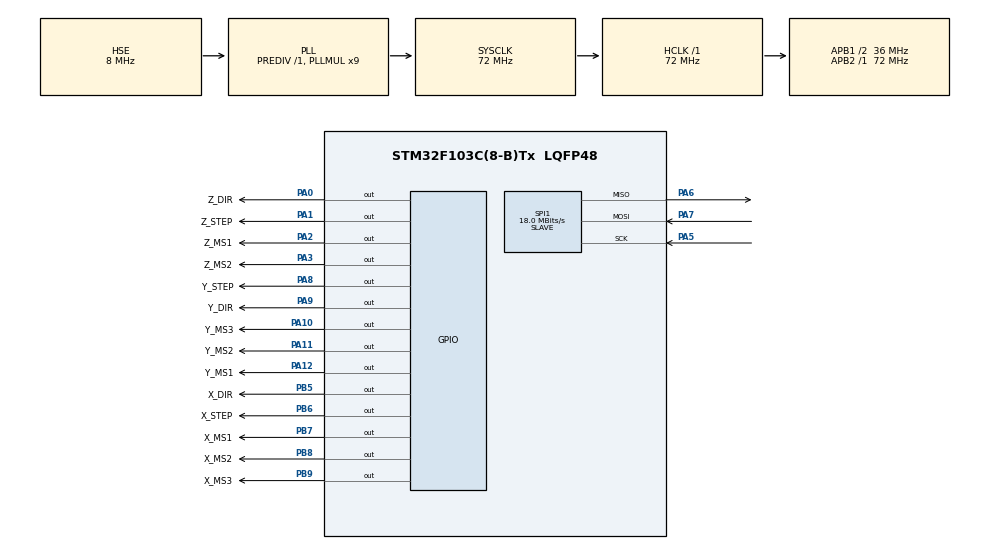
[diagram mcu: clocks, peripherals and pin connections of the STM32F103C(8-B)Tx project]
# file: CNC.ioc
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Mcu.Family=STM32F1
Mcu.Name=STM32F103C(8-B)Tx
Mcu.Package=LQFP48
NVIC.PriorityGroup=NVIC_PRIORITYGROUP_4
NVIC.SPI1_IRQn=true\:0\:0\:false\:false\:true\:true
PA0-WKUP.GPIO_Label=Z_DIR
PA0-WKUP.Signal=GPIO_Output
PA1.GPIO_Label=Z_STEP
PA1.Signal=GPIO_Output
PA10.GPIO_Label=Y_MS3
PA10.Signal=GPIO_Output
PA11.GPIO_Label=Y_MS2
PA11.Signal=GPIO_Output
PA12.GPIO_Label=Y_MS1
PA12.Signal=GPIO_Output
PA13.Mode=JTAG_4_pins
PA13.Signal=SYS_JTMS-SWDIO
PA14.Mode=JTAG_4_pins
PA14.Signal=SYS_JTCK-SWCLK
PA15.Mode=JTAG_4_pins
PA15.Signal=SYS_JTDI
PA2.GPIO_Label=Z_MS1
PA2.Signal=GPIO_Output
PA3.GPIO_Label=Z_MS2
PA3.Signal=GPIO_Output
PA5.Mode=Full_Duplex_Slave
PA5.Signal=SPI1_SCK
PA6.Mode=Full_Duplex_Slave
PA6.Signal=SPI1_MISO
PA7.Mode=Full_Duplex_Slave
PA7.Signal=SPI1_MOSI
PA8.GPIO_Label=Y_STEP
PA8.Signal=GPIO_Output
PA9.GPIO_Label=Y_DIR
PA9.Signal=GPIO_Output
PB3.Mode=JTAG_4_pins
PB3.Signal=SYS_JTDO-TRACESWO
PB5.GPIO_Label=X_DIR
PB5.Signal=GPIO_Output
PB6.GPIO_Label=X_STEP
PB6.Signal=GPIO_Output
PB7.GPIO_Label=X_MS1
PB7.Signal=GPIO_Output
PB8.GPIO_Label=X_MS2
PB8.Signal=GPIO_Output
PB9.GPIO_Label=X_MS3
PB9.Signal=GPIO_Output
PD0-OSC_IN.Mode=HSE-External-Oscillator
PD0-OSC_IN.Signal=RCC_OSC_IN
PD1-OSC_OUT.Mode=HSE-External-Oscillator
PD1-OSC_OUT.Signal=RCC_OSC_OUT
ProjectManager.HeapSize=0x200
ProjectManager.StackSize=0x400
ProjectManager.TargetToolchain=SW4STM32
RCC.AHBFreq_Value=72000000
RCC.APB1CLKDivider=RCC_HCLK_DIV2
RCC.APB1Freq_Value=36000000
RCC.APB1TimFreq_Value=72000000
RCC.APB2Freq_Value=72000000
RCC.APB2TimFreq_Value=72000000
RCC.HCLKFreq_Value=72000000
RCC.PLLMUL=RCC_PLL_MUL9
RCC.PLLSourceVirtual=RCC_PLLSOURCE_HSE
RCC.SYSCLKFreq_VALUE=72000000
RCC.SYSCLKSource=RCC_SYSCLKSOURCE_PLLCLK
RCC.USBFreq_Value=72000000
SPI1.BaudRatePrescaler=SPI_BAUDRATEPRESCALER_4
SPI1.CalculateBaudRate=18.0 MBits/s
SPI1.Direction=SPI_DIRECTION_2LINES
SPI1.Mode=SPI_MODE_SLAVE
SPI1.VirtualType=VM_SLAVE
board=CNC

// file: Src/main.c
/**
  ******************************************************************************
  * @file           : main.c
  * @brief          : Main program body
  ******************************************************************************
  ** This notice applies to any and all portions of this file
  * that are not between comment pairs USER CODE BEGIN and
  * USER CODE END. Other portions of this file, whether
  * inserted by the user or by software development tools
  * are owned by their respective copyright owners.
  *
  * COPYRIGHT(c) 2018 STMicroelectronics
  *
  * Redistribution and use in source and binary forms, with or without modification,
  * are permitted provided that the following conditions are met:
  *   1. Redistributions of source code must retain the above copyright notice,
  *      this list of conditions and the following disclaimer.
  *   2. Redistributions in binary form must reproduce the above copyright notice,
  *      this list of conditions and the following disclaimer in the documentation
  *      and/or other materials provided with the distribution.
  *   3. Neither the name of STMicroelectronics nor the names of its contributors
  *      may be used to endorse or promote products derived from this software
  *      without specific prior written permission.
  *
  * THIS SOFTWARE IS PROVIDED BY THE COPYRIGHT HOLDERS AND CONTRIBUTORS "AS IS"
  * AND ANY EXPRESS OR IMPLIED WARRANTIES, INCLUDING, BUT NOT LIMITED TO, THE
  * IMPLIED WARRANTIES OF MERCHANTABILITY AND FITNESS FOR A PARTICULAR PURPOSE ARE
  * DISCLAIMED. IN NO EVENT SHALL THE COPYRIGHT HOLDER OR CONTRIBUTORS BE LIABLE
  * FOR ANY DIRECT, INDIRECT, INCIDENTAL, SPECIAL, EXEMPLARY, OR CONSEQUENTIAL
  * DAMAGES (INCLUDING, BUT NOT LIMITED TO, PROCUREMENT OF SUBSTITUTE GOODS OR
  * SERVICES; LOSS OF USE, DATA, OR PROFITS; OR BUSINESS INTERRUPTION) HOWEVER
  * CAUSED AND ON ANY THEORY OF LIABILITY, WHETHER IN CONTRACT, STRICT LIABILITY,
  * OR TORT (INCLUDING NEGLIGENCE OR OTHERWISE) ARISING IN ANY WAY OUT OF THE USE
  * OF THIS SOFTWARE, EVEN IF ADVISED OF THE POSSIBILITY OF SUCH DAMAGE.
  *
  ******************************************************************************
  */
#include "main.h"
#include "stm32f1xx_hal.h"

/* USER CODE BEGIN Includes */
#include "movement.h"
/* USER CODE END Includes */

SPI_HandleTypeDef hspi1;

/* USER CODE BEGIN PV */
/* Private variables ---------------------------------------------------------*/
uint8_t  buffer[5];
/* USER CODE END PV */

void SystemClock_Config(void);
static void MX_GPIO_Init(void);
static void MX_SPI1_Init(void);

/* USER CODE BEGIN PFP */
/* Private function prototypes -----------------------------------------------*/
enum Code {
    MOVE_X=0x15,
    MOVE_Y=0x25,
    MOVE_Z=0x35
};
/* USER CODE END PFP */

/* USER CODE BEGIN 0 */
uint8_t newCmd=0;
enum Code Cmd;
int16_t displacement=0;

/* USER CODE END 0 */

int main(void)
{

  /* MCU Configuration----------------------------------------------------------*/

  /* Reset of all peripherals, Initializes the Flash interface and the Systick. */
  HAL_Init();

  /* Configure the system clock */
  SystemClock_Config();

  /* Initialize all configured peripherals */
  MX_GPIO_Init();
  MX_SPI1_Init();

  /* Infinite loop */
  /* USER CODE BEGIN WHILE */
  HAL_SPI_Receive_IT(&hspi1,buffer,4);
  zero();
  while (1)
  {
      if (newCmd){
          newCmd = 0;
          switch(Cmd){
              case MOVE_X:
                  moveX(displacement);
                  break;
              case MOVE_Y:
                  moveY(displacement);
                  break;
              case MOVE_Z:
                  moveZ(displacement);
                  break;
          }
          HAL_SPI_Receive_IT(&hspi1,buffer,4);
      }
      /* USER CODE END WHILE */

  }

}

void HAL_SPI_RxCpltCallback(SPI_HandleTypeDef *hspi) {
    Cmd = buffer[0];
    displacement = buffer[3];
    displacement <<= 8;
    displacement += buffer[2];
    newCmd = 1;

}

void SystemClock_Config(void)
{

  RCC_OscInitTypeDef RCC_OscInitStruct;
  RCC_ClkInitTypeDef RCC_ClkInitStruct;

    /**Initializes the CPU, AHB and APB busses clocks
    */
  RCC_OscInitStruct.OscillatorType = RCC_OSCILLATORTYPE_HSE;
  RCC_OscInitStruct.HSEState = RCC_HSE_ON;
  RCC_OscInitStruct.HSEPredivValue = RCC_HSE_PREDIV_DIV1;
  RCC_OscInitStruct.HSIState = RCC_HSI_ON;
  RCC_OscInitStruct.PLL.PLLState = RCC_PLL_ON;
  RCC_OscInitStruct.PLL.PLLSource = RCC_PLLSOURCE_HSE;
  RCC_OscInitStruct.PLL.PLLMUL = RCC_PLL_MUL9;
  if (HAL_RCC_OscConfig(&RCC_OscInitStruct) != HAL_OK)
  {
    _Error_Handler(__FILE__, __LINE__);
  }

    /**Initializes the CPU, AHB and APB busses clocks
    */
  RCC_ClkInitStruct.ClockType = RCC_CLOCKTYPE_HCLK|RCC_CLOCKTYPE_SYSCLK
                              |RCC_CLOCKTYPE_PCLK1|RCC_CLOCKTYPE_PCLK2;
  RCC_ClkInitStruct.SYSCLKSource = RCC_SYSCLKSOURCE_PLLCLK;
  RCC_ClkInitStruct.AHBCLKDivider = RCC_SYSCLK_DIV1;
  RCC_ClkInitStruct.APB1CLKDivider = RCC_HCLK_DIV2;
  RCC_ClkInitStruct.APB2CLKDivider = RCC_HCLK_DIV1;

  if (HAL_RCC_ClockConfig(&RCC_ClkInitStruct, FLASH_LATENCY_2) != HAL_OK)
  {
    _Error_Handler(__FILE__, __LINE__);
  }

    /**Configure the Systick interrupt time
    */
  HAL_SYSTICK_Config(HAL_RCC_GetHCLKFreq()/1000);

    /**Configure the Systick
    */
  HAL_SYSTICK_CLKSourceConfig(SYSTICK_CLKSOURCE_HCLK);

  /* SysTick_IRQn interrupt configuration */
  HAL_NVIC_SetPriority(SysTick_IRQn, 0, 0);
}

/* SPI1 init function */
static void MX_SPI1_Init(void)
{

  /* SPI1 parameter configuration*/
  hspi1.Instance = SPI1;
  hspi1.Init.Mode = SPI_MODE_SLAVE;
  hspi1.Init.Direction = SPI_DIRECTION_2LINES;
  hspi1.Init.DataSize = SPI_DATASIZE_8BIT;
  hspi1.Init.CLKPolarity = SPI_POLARITY_LOW;
  hspi1.Init.CLKPhase = SPI_PHASE_1EDGE;
  hspi1.Init.NSS = SPI_NSS_SOFT;
  hspi1.Init.BaudRatePrescaler = SPI_BAUDRATEPRESCALER_4;
  hspi1.Init.FirstBit = SPI_FIRSTBIT_MSB;
  hspi1.Init.TIMode = SPI_TIMODE_DISABLE;
  hspi1.Init.CRCCalculation = SPI_CRCCALCULATION_DISABLE;
  hspi1.Init.CRCPolynomial = 10;
  if (HAL_SPI_Init(&hspi1) != HAL_OK)
  {
    _Error_Handler(__FILE__, __LINE__);
  }

}

/** Configure pins as
        * Analog
        * Input
        * Output
        * EVENT_OUT
        * EXTI
*/
static void MX_GPIO_Init(void)
{

  GPIO_InitTypeDef GPIO_InitStruct;

  /* GPIO Ports Clock Enable */
  __HAL_RCC_GPIOD_CLK_ENABLE();
  __HAL_RCC_GPIOA_CLK_ENABLE();
  __HAL_RCC_GPIOB_CLK_ENABLE();

  /*Configure GPIO pin Output Level */
  HAL_GPIO_WritePin(GPIOA, Z_DIR_Pin|Z_STEP_Pin|Z_MS1_Pin|Z_MS2_Pin
                          |Y_STEP_Pin|Y_DIR_Pin|Y_MS3_Pin|Y_MS2_Pin
                          |Y_MS1_Pin, GPIO_PIN_RESET);

  /*Configure GPIO pin Output Level */
  HAL_GPIO_WritePin(GPIOB, X_DIR_Pin|X_STEP_Pin|X_MS1_Pin|X_MS2_Pin
                          |X_MS3_Pin, GPIO_PIN_RESET);

  /*Configure GPIO pins : Z_DIR_Pin Z_STEP_Pin Z_MS1_Pin Z_MS2_Pin
                           Y_STEP_Pin Y_DIR_Pin Y_MS3_Pin Y_MS2_Pin
                           Y_MS1_Pin */
  GPIO_InitStruct.Pin = Z_DIR_Pin|Z_STEP_Pin|Z_MS1_Pin|Z_MS2_Pin
                          |Y_STEP_Pin|Y_DIR_Pin|Y_MS3_Pin|Y_MS2_Pin
                          |Y_MS1_Pin;
  GPIO_InitStruct.Mode = GPIO_MODE_OUTPUT_PP;
  GPIO_InitStruct.Pull = GPIO_NOPULL;
  GPIO_InitStruct.Speed = GPIO_SPEED_FREQ_LOW;
  HAL_GPIO_Init(GPIOA, &GPIO_InitStruct);

  /*Configure GPIO pins : X_DIR_Pin X_STEP_Pin X_MS1_Pin X_MS2_Pin
                           X_MS3_Pin */
  GPIO_InitStruct.Pin = X_DIR_Pin|X_STEP_Pin|X_MS1_Pin|X_MS2_Pin
                          |X_MS3_Pin;
  GPIO_InitStruct.Mode = GPIO_MODE_OUTPUT_PP;
  GPIO_InitStruct.Pull = GPIO_NOPULL;
  GPIO_InitStruct.Speed = GPIO_SPEED_FREQ_LOW;
  HAL_GPIO_Init(GPIOB, &GPIO_InitStruct);

}

void _Error_Handler(char *file, int line)
{
  while(1)
  {
  }
}

/************************ (C) COPYRIGHT STMicroelectronics *****END OF FILE****/
